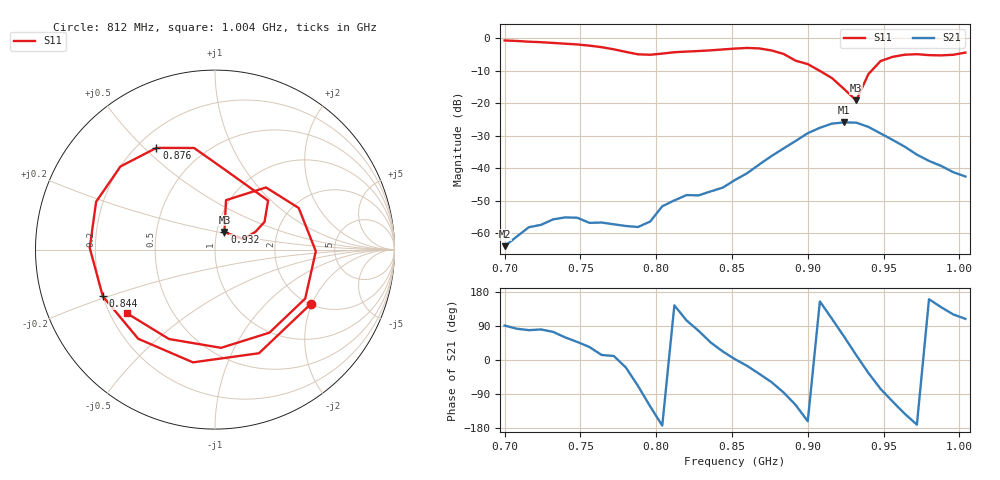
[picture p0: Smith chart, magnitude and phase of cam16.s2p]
# Hz S RI R 50
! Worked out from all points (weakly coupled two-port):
!   39 points, 700 MHz to 1.004 GHz, reference 50 ohm
!   highest |S21| = -25.84 dB at 924 MHz (marker M1); lowest = -64.0 dB at 700 MHz (marker M2)
!   lowest |S11| = -19.1 dB at 932 MHz (marker M3), VSWR 1.25, Z = 54.4 + j10.8 ohm
!   |S11| at or under -10 dB: 908 MHz to 942 MHz (33.97 MHz wide, 3.67 % of centre)
!   S12 and S22 are empty: the file has one direction only
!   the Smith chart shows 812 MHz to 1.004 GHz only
!   S11 on the Smith chart (normalised r, x): 812 MHz: 2.01, -1.96; 844 MHz: 0.20, -0.19; 876 MHz: 0.28, +0.54; 932 MHz: 1.09, +0.22; 1.004 GHz: 0.27, -0.30
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7e8  0.7651 0.5301  -1.03e-05 0.000634  0 0  0 0
7.24e8  0.8358 -0.2607  0.00022 0.00133  0 0  0 0
7.4e8  0.4427 -0.7015  0.000889 0.00152  0 0  0 0
7.56e8  -0.1963 -0.7486  0.0012 0.000813  0 0  0 0
7.72e8  -0.6534 -0.1881  0.00135 0.000257  0 0  0 0
7.8e8  -0.5757 0.2324  0.00122 -0.00044  0 0  0 0
7.88e8  -0.2192 0.5257  0.000458 -0.00116  0 0  0 0
7.96e8  0.2589 0.4975  -0.000807 -0.00128  0 0  0 0
8.04e8  0.5676 0.1376  -0.00259 -0.000313  0 0  0 0
8.12e8  0.5329 -0.3036  -0.0026 0.00188  0 0  0 0
8.28e8  -0.1228 -0.6282  0.000869 0.00374  0 0  0 0
8.44e8  -0.6254 -0.2596  0.00468 0.00192  0 0  0 0
8.52e8  -0.698 0.0097  0.00662 0.000249  0 0  0 0
8.76e8  -0.3264 0.5667  0.00816 -0.0131  0 0  0 0
9e8  0.2959 0.273  -0.033 -0.0109  0 0  0 0
9.08e8  0.276 0.1544  -0.0381 0.0181  0 0  0 0
9.24e8  0.1553 0.0589  0.0243 0.0449  0 0  0 0
9.32e8  0.0525 0.0978  0.0493 0.0111  0 0  0 0
9.4e8  0.0613 0.2753  0.036 -0.0244  0 0  0 0
9.56e8  0.4666 0.2317  -0.0092 -0.0258  0 0  0 0
9.8e8  0.3032 -0.4628  -0.0123 0.00437  0 0  0 0
1.004e9  -0.4907 -0.3546  -0.00238 0.0071  0 0  0 0
